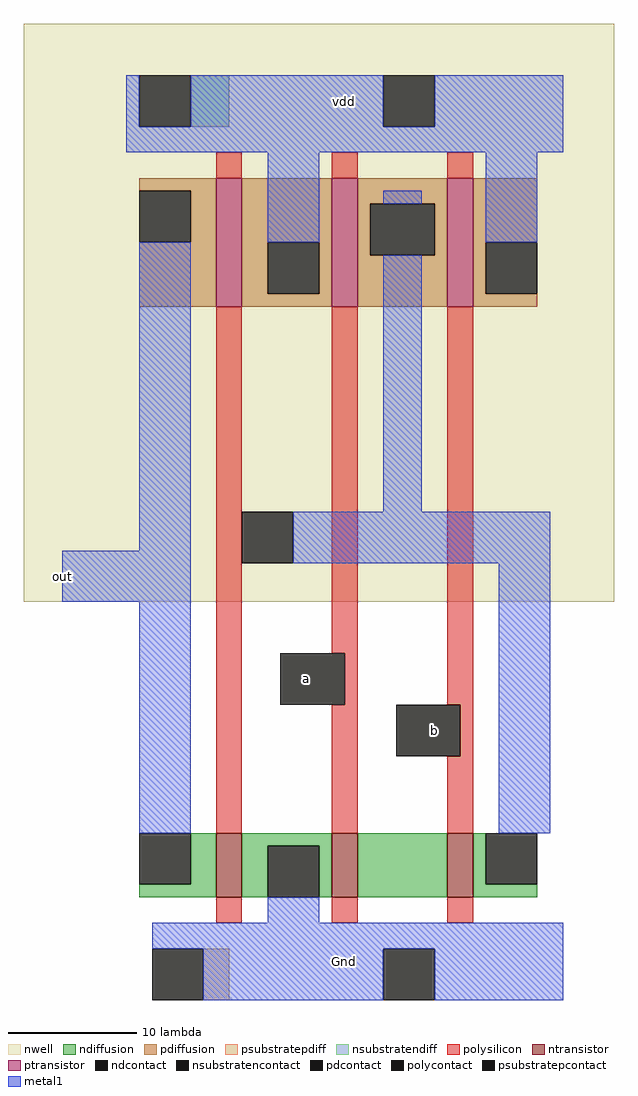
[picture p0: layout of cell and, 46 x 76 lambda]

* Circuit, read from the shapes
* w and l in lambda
.subckt and Gnd a b out vdd
M1 Gnd n1 out Gnd nfet w=5 l=2
M2 n2 a Gnd Gnd nfet w=5 l=2
M3 n1 b n2 Gnd nfet w=5 l=2
M4 vdd n1 out vdd pfet w=10 l=2
M5 n1 a vdd vdd pfet w=10 l=2
M6 vdd b n1 vdd pfet w=10 l=2
.ends

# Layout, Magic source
magic
tech min2
<< nwell >>
rect -23 24 23 69
<< ntransistor >>
rect -8 1 -6 6
rect 1 1 3 6
rect 10 1 12 6
<< ptransistor >>
rect -8 47 -6 57
rect 1 47 3 57
rect 10 47 12 57
<< ndiffusion >>
rect -10 2 -8 6
rect -14 1 -8 2
rect -6 5 1 6
rect -6 1 -4 5
rect 0 1 1 5
rect 3 1 10 6
rect 12 2 13 6
rect 12 1 17 2
<< pdiffusion >>
rect -14 56 -8 57
rect -10 52 -8 56
rect -14 47 -8 52
rect -6 52 1 57
rect -6 48 -4 52
rect 0 48 1 52
rect -6 47 1 48
rect 3 55 10 57
rect 3 51 4 55
rect 9 51 10 55
rect 3 47 10 51
rect 12 52 17 57
rect 12 48 13 52
rect 12 47 17 48
<< ndcontact >>
rect -14 2 -10 6
rect -4 1 0 5
rect 13 2 17 6
<< pdcontact >>
rect -14 52 -10 56
rect -4 48 0 52
rect 4 51 9 55
rect 13 48 17 52
<< psubstratepdiff >>
rect -9 -7 -7 -3
<< nsubstratendiff >>
rect -10 61 -7 65
<< psubstratepcontact >>
rect -13 -7 -9 -3
rect 5 -7 9 -3
<< nsubstratencontact >>
rect -14 61 -10 65
rect 5 61 9 65
<< polysilicon >>
rect -8 57 -6 59
rect 1 57 3 59
rect 10 57 12 59
rect -8 6 -6 47
rect 1 20 3 47
rect 2 16 3 20
rect 10 16 12 47
rect 1 6 3 16
rect 11 12 12 16
rect 10 6 12 12
rect -8 -1 -6 1
rect 1 -1 3 1
rect 10 -1 12 1
<< polycontact >>
rect -6 27 -2 31
rect -3 16 2 20
rect 6 12 11 16
<< metal1 >>
rect -15 61 -14 65
rect -10 61 5 65
rect 9 61 19 65
rect -15 59 19 61
rect -14 28 -10 52
rect -4 52 0 59
rect 5 55 8 56
rect 13 52 17 59
rect 5 31 8 51
rect -20 24 -10 28
rect -2 27 18 31
rect -14 6 -10 24
rect 14 6 18 27
rect -4 -1 0 1
rect -13 -3 19 -1
rect -9 -7 5 -3
rect 9 -7 19 -3
<< labels >>
rlabel metal1 2 -4 2 -4 1 Gnd
rlabel metal1 2 63 2 63 5 vdd
rlabel polycontact 9 14 9 14 1 b
rlabel polycontact -1 18 -1 18 1 a
rlabel metal1 -20 24 -20 28 3 out
<< end >>
